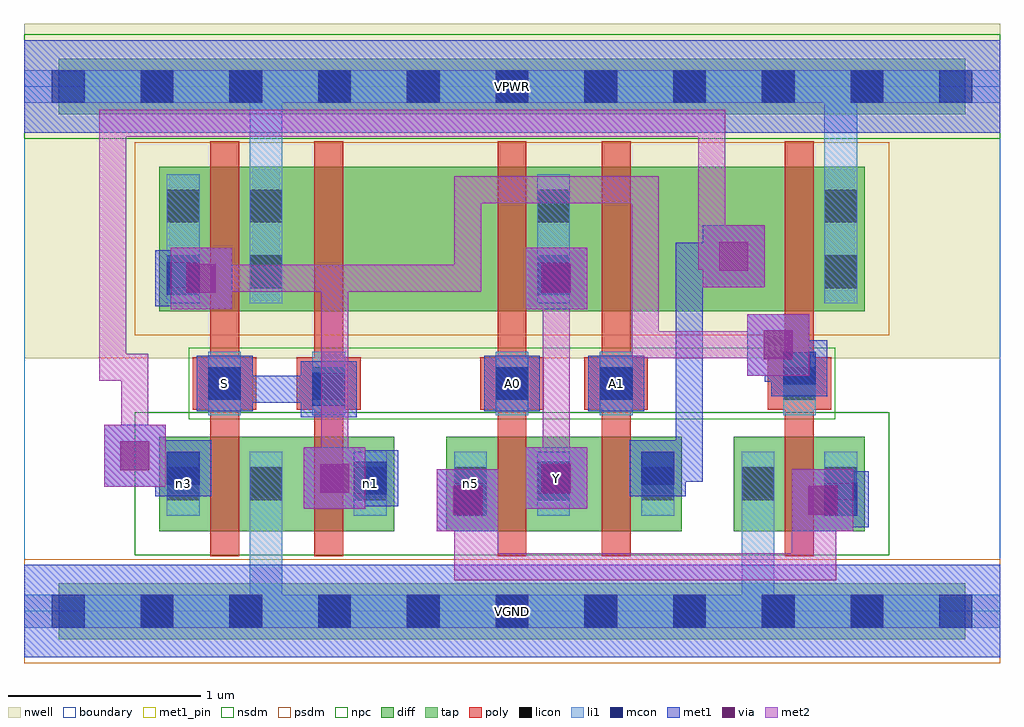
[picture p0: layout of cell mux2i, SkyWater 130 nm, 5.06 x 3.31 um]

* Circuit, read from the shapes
.subckt mux2i A0 A1 S VGND VPWR Y n1 n3 n5
XM1 VGND S n3 VGND sky130_fd_pr__nfet_01v8 w=0.49 l=0.15
XM2 n1 S VGND VGND sky130_fd_pr__nfet_01v8 w=0.49 l=0.15
XM3 Y A0 n5 VGND sky130_fd_pr__nfet_01v8 w=0.49 l=0.15
XM4 n3 A1 Y VGND sky130_fd_pr__nfet_01v8 w=0.49 l=0.15
XM5 n5 n1 VGND VGND sky130_fd_pr__nfet_01v8 w=0.49 l=0.15
XM6 VPWR S n1 VPWR sky130_fd_pr__pfet_01v8 w=0.75 l=0.15
XM7 n2 S VPWR VPWR sky130_fd_pr__pfet_01v8 w=0.75 l=0.15
XM8 Y A0 n2 VPWR sky130_fd_pr__pfet_01v8 w=0.75 l=0.15
XM9 n4 A1 Y VPWR sky130_fd_pr__pfet_01v8 w=0.75 l=0.15
XM10 VPWR n1 n4 VPWR sky130_fd_pr__pfet_01v8 w=0.75 l=0.15
.ends

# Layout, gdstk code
import gdstk
lib = gdstk.Library(unit=1e-6, precision=1e-09)
def R(c, l, rs):  # rectangles x0, y0, x1, y1
    for r in rs: c.add(gdstk.rectangle(r[:2], r[2:], *l))
def A(c, l, x, y, w, h, nx, ny, dx, dy):  # array of equal rectangles
    R(c, l, [(x+i*dx, y+j*dy, x+i*dx+w, y+j*dy+h) for i in range(nx) for j in range(ny)])
nwell = (64, 20)
diff = (65, 20)
tap = (65, 44)
poly = (66, 20)
licon = (66, 44)
li1 = (67, 20)
mcon = (67, 44)
met1_pin = (68, 16)
met1 = (68, 20)
via = (68, 44)
met2 = (69, 20)
nsdm = (93, 44)
psdm = (94, 20)
npc = (95, 20)
boundary = (235, 4)

mux2i = lib.new_cell('mux2i')
R(mux2i, nwell, [(0,1.31,5.06,3.045)])
R(mux2i, diff, [(0.7,0.415,1.92,0.905), (2.19,0.415,3.41,0.905), (3.68,0.415,4.36,0.905), (0.7,1.555,4.36,2.305)])
R(mux2i, tap, [(0.18,-0.145,4.88,0.145), (0.18,2.575,4.88,2.865)])
R(mux2i, poly, [(0.965,0.285,1.115,2.435), (1.505,0.285,1.655,2.435), (2.455,0.285,2.605,2.435), (2.995,0.285,3.145,2.435), (3.945,0.285,4.095,2.435), (0.875,1.045,1.205,1.315), (1.415,1.045,1.745,1.315), (2.365,1.045,2.695,1.315), (2.905,1.045,3.235,1.315), (3.855,1.045,4.185,1.315)])
A(mux2i, licon, 0.605, -0.085, 0.17, 0.17, 9, 2, 0.46, 2.72)
A(mux2i, licon, 1.17, 1.675, 0.17, 0.17, 3, 2, 1.49, 0.34)
R(mux2i, licon, [(0.74,0.575,0.91,0.745), (1.17,0.575,1.34,0.745), (1.71,0.575,1.88,0.745), (2.23,0.575,2.4,0.745), (2.66,0.575,2.83,0.745), (3.2,0.575,3.37,0.745), (3.72,0.575,3.89,0.745), (4.15,0.575,4.32,0.745), (0.955,1.095,1.125,1.265), (1.495,1.095,1.665,1.265), (2.445,1.095,2.615,1.265), (2.985,1.095,3.155,1.265), (3.935,1.095,4.105,1.265), (0.74,1.675,0.91,1.845), (0.74,2.015,0.91,2.185)])
A(mux2i, li1, 1.17, 1.595, 0.17, 0.67, 3, 1, 1.49, 0)
R(mux2i, li1, [(0,-0.085,5.06,0.085), (1.17,-0.085,1.34,0.825), (3.72,-0.085,3.89,0.825), (0.74,0.495,0.91,0.825), (1.17,0.495,1.34,0.825), (1.71,0.495,1.88,0.825), (2.23,0.495,2.4,0.825), (2.66,0.495,2.83,0.825), (3.2,0.495,3.37,0.825), (3.72,0.495,3.89,0.825), (4.15,0.495,4.32,0.825), (0.955,1.015,1.125,1.345), (1.495,1.015,1.665,1.345), (2.445,1.015,2.615,1.345), (2.985,1.015,3.155,1.345), (3.935,1.015,4.105,1.345), (0.74,1.595,0.91,2.265), (1.17,1.595,1.34,2.805), (4.15,1.595,4.32,2.805), (0,2.635,5.06,2.805)])
A(mux2i, mcon, 0.145, -0.085, 0.17, 0.17, 11, 2, 0.46, 2.72)
R(mux2i, mcon, [(2.23,0.495,2.4,0.665), (4.15,0.495,4.32,0.665), (1.71,0.605,1.88,0.775), (2.66,0.605,2.83,0.775), (0.74,0.655,0.91,0.825), (3.2,0.655,3.37,0.825), (1.495,1.065,1.665,1.235), (0.955,1.095,1.125,1.265), (2.445,1.095,2.615,1.265), (2.985,1.095,3.155,1.265), (3.935,1.175,4.105,1.345), (0.74,1.64,0.91,1.81), (2.66,1.64,2.83,1.81)])
R(mux2i, met1_pin, [(0,-0.24,5.06,0.24), (2.6,0.53,2.92,0.85), (0.895,1.035,1.185,1.325), (2.385,1.035,2.675,1.325), (2.925,1.035,3.215,1.325), (0,2.48,5.06,2.96)])
R(mux2i, met1, [(0,-0.24,5.06,0.24), (2.14,0.415,2.46,0.735), (3.98,0.415,4.3,0.735), (2.17,0.435,2.46,0.725), (4.09,0.435,4.38,0.725), (2.23,0.505,2.37,0.65), (4.07,0.505,4.21,0.65), (2.23,0.51,2.385,0.65), (4.07,0.51,4.305,0.65), (1.45,0.53,1.77,0.85), (2.6,0.53,2.92,0.85), (1.65,0.545,1.94,0.835), (2.6,0.545,2.89,0.835), (0.68,0.595,0.97,0.885), (3.14,0.595,3.43,0.885), (1.54,0.62,1.865,0.76), (2.675,0.62,2.83,0.76), (0.415,0.645,0.735,0.965), (0.62,0.67,0.895,0.81), (0.62,0.67,0.76,0.875), (3.215,0.67,3.52,0.81), (3.38,0.67,3.52,0.99), (0.505,0.735,0.76,0.875), (3.38,0.85,3.52,1.91), (1.435,1.005,1.725,1.295), (0.895,1.035,1.185,1.325), (2.385,1.035,2.675,1.325), (2.925,1.035,3.215,1.325), (0.965,1.08,1.105,1.22), (0.965,1.08,1.45,1.22), (1.31,1.08,1.65,1.22), (3.875,1.115,4.165,1.405), (3.84,1.19,4.09,1.33), (3.84,1.19,3.98,1.45), (3.75,1.22,4.07,1.54), (0.76,1.565,1.08,1.885), (2.6,1.565,2.92,1.885), (0.68,1.58,0.97,1.87), (2.6,1.58,2.89,1.87), (0.755,1.655,0.99,1.795), (2.675,1.655,2.83,1.795), (3.52,1.68,3.84,2), (3.38,1.77,3.75,1.91), (0,2.48,5.06,2.96)])
R(mux2i, via, [(2.225,0.5,2.375,0.65), (4.065,0.5,4.215,0.65), (1.535,0.615,1.685,0.765), (2.685,0.615,2.835,0.765), (0.5,0.73,0.65,0.88), (3.835,1.305,3.985,1.455), (0.845,1.65,0.995,1.8), (2.685,1.65,2.835,1.8), (3.605,1.765,3.755,1.915)])
R(mux2i, met2, [(2.23,0.16,2.37,0.645), (2.23,0.16,4.21,0.3), (4.07,0.16,4.21,0.645), (2.23,0.3,2.46,0.415), (3.98,0.3,4.21,0.415), (2.14,0.415,2.46,0.735), (3.98,0.415,4.3,0.735), (1.45,0.53,1.77,0.85), (2.6,0.53,2.92,0.85), (1.54,0.62,1.68,1.795), (2.69,0.62,2.83,1.795), (0.415,0.645,0.735,0.965), (0.505,0.735,0.645,1.335), (0.39,1.195,0.645,1.335), (0.39,1.195,0.53,2.6), (3.75,1.22,4.07,1.54), (3.15,1.31,3.98,1.45), (3.15,1.31,3.29,2.255), (0.76,1.565,1.08,1.885), (2.6,1.565,2.92,1.885), (0.85,1.655,1.68,1.795), (1.54,1.655,2.37,1.795), (2.23,1.655,2.37,2.255), (3.52,1.68,3.84,2), (3.495,1.77,3.75,1.91), (3.495,1.77,3.635,2.6), (2.23,2.115,3.29,2.255), (0.39,2.46,3.635,2.6)])
R(mux2i, nsdm, [(0.575,0.29,4.485,1.03), (0,2.45,5.06,2.99)])
R(mux2i, psdm, [(0,-0.27,5.06,0.27), (0.575,1.43,4.485,2.43)])
R(mux2i, npc, [(0.855,0.995,4.205,1.365)])
R(mux2i, boundary, [(0,0,5.06,2.72)])
mux2i.add(gdstk.Label('n3', (0.825,0.66), layer=67, texttype=5))
mux2i.add(gdstk.Label('n1', (1.795,0.66), layer=67, texttype=5))
mux2i.add(gdstk.Label('n5', (2.315,0.66), layer=67, texttype=5))
mux2i.add(gdstk.Label('A0', (2.53,1.18), layer=68, texttype=5))
mux2i.add(gdstk.Label('A1', (3.07,1.18), layer=68, texttype=5))
mux2i.add(gdstk.Label('S', (1.04,1.18), layer=68, texttype=5))
mux2i.add(gdstk.Label('Y', (2.76,0.69), layer=68, texttype=5))
mux2i.add(gdstk.Label('VPWR', (2.53,2.72), layer=68, texttype=5))
mux2i.add(gdstk.Label('VGND', (2.53,0), layer=68, texttype=5))
mux2i.add(gdstk.Label('A0', (2.53,1.18), layer=68, texttype=16))
mux2i.add(gdstk.Label('A1', (3.07,1.18), layer=68, texttype=16))
mux2i.add(gdstk.Label('S', (1.04,1.18), layer=68, texttype=16))
mux2i.add(gdstk.Label('Y', (2.76,0.69), layer=68, texttype=16))
mux2i.add(gdstk.Label('VPWR', (2.53,2.72), layer=68, texttype=16))
mux2i.add(gdstk.Label('VGND', (2.53,0), layer=68, texttype=16))

lib.write_gds('mux2i.gds')
